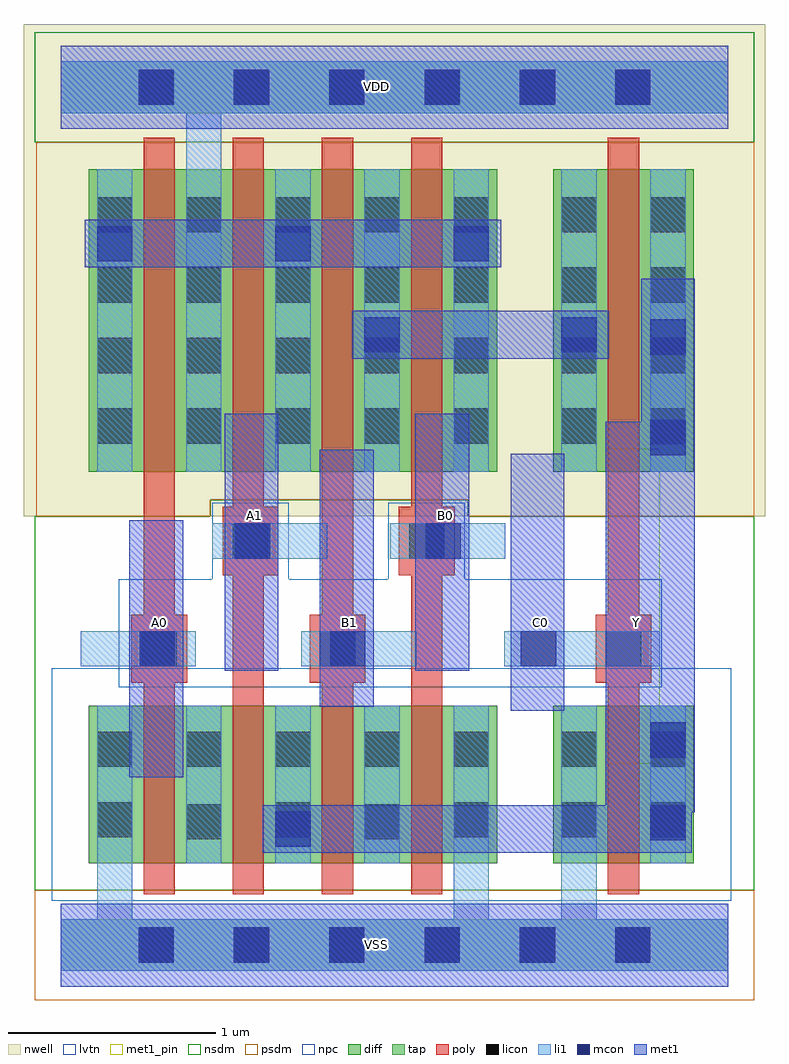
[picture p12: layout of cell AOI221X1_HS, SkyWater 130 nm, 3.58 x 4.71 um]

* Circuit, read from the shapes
.subckt AOI221X1_HS A0 A1 B0 B1 C0 VDD VSS Y
XM1 n1 A0 VSS VSS sky130_fd_pr__nfet_01v8_lvt w=0.76 l=0.15
XM2 Y A1 n1 VSS sky130_fd_pr__nfet_01v8_lvt w=0.76 l=0.15
XM3 n2 B1 Y VSS sky130_fd_pr__nfet_01v8_lvt w=0.76 l=0.15
XM4 VSS B0 n2 VSS sky130_fd_pr__nfet_01v8_lvt w=0.76 l=0.15
XM5 Y C0 VSS VSS sky130_fd_pr__nfet_01v8_lvt w=0.76 l=0.15
XM6 VDD A0 n3 VDD sky130_fd_pr__pfet_01v8 w=1.46 l=0.15
XM7 n3 A1 VDD VDD sky130_fd_pr__pfet_01v8 w=1.46 l=0.15
XM8 n4 B1 n3 VDD sky130_fd_pr__pfet_01v8 w=1.46 l=0.15
XM9 n3 B0 n4 VDD sky130_fd_pr__pfet_01v8 w=1.46 l=0.15
XM10 Y C0 n4 VDD sky130_fd_pr__pfet_01v8 w=1.46 l=0.15
.ends

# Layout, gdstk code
from math import pi, radians
import gdstk
lib = gdstk.Library(unit=1e-6, precision=1e-09)
def R(c, l, rs):  # rectangles x0, y0, x1, y1
    for r in rs: c.add(gdstk.rectangle(r[:2], r[2:], *l))
def A(c, l, x, y, w, h, nx, ny, dx, dy):  # array of equal rectangles
    R(c, l, [(x+i*dx, y+j*dy, x+i*dx+w, y+j*dy+h) for i in range(nx) for j in range(ny)])
def P(c, l, *ps):  # polygons
    for p in ps: c.add(gdstk.Polygon(p, *l))
nwell = (64, 20)
diff = (65, 20)
tap = (65, 44)
poly = (66, 20)
licon = (66, 44)
li1 = (67, 20)
mcon = (67, 44)
met1_pin = (68, 16)
met1 = (68, 20)
nsdm = (93, 44)
psdm = (94, 20)
npc = (95, 20)
lvtn = (125, 44)

l1m1_c_cdns_750721774072 = lib.new_cell('L1M1_C_CDNS_750721774072')
R(l1m1_c_cdns_750721774072, li1, [(-0.085,-0.165,0.085,0.165)])
R(l1m1_c_cdns_750721774072, mcon, [(-0.085,-0.085,0.085,0.085)])
R(l1m1_c_cdns_750721774072, met1, [(-0.115,-0.145,0.115,0.145)])

l1m1_c_cdns_750721774074 = lib.new_cell('L1M1_C_CDNS_750721774074')
R(l1m1_c_cdns_750721774074, li1, [(-0.165,-0.085,0.165,0.085)])
R(l1m1_c_cdns_750721774074, mcon, [(-0.085,-0.085,0.085,0.085)])
R(l1m1_c_cdns_750721774074, met1, [(-0.115,-0.145,0.115,0.145)])

pyl1con_c_cdns_750721774 = lib.new_cell('PYL1CON_C_CDNS_750721774073')
R(pyl1con_c_cdns_750721774, poly, [(-0.135,-0.165,0.135,0.165)])
R(pyl1con_c_cdns_750721774, licon, [(-0.085,-0.085,0.085,0.085)])
R(pyl1con_c_cdns_750721774, npc, [(-0.185,-0.185,0.185,0.185)])

aoi221x1_hs = lib.new_cell('AOI221X1_HS')
R(aoi221x1_hs, nwell, [(-0.18,2.07,3.4,4.305), (-0.045,2.105,0.955,3.925), (0.595,2.105,1.385,3.925), (1.025,2.105,1.815,3.925), (1.455,2.105,2.285,3.925), (2.195,2.105,3.235,3.925), (-0.18,3.875,3.4,4.445)])
A(aoi221x1_hs, diff, 0.4, 0.395, 0.15, 0.76, 4, 1, 0.43, 0)
A(aoi221x1_hs, diff, 0.55, 0.395, 0.225, 0.76, 3, 1, 0.43, 0)
A(aoi221x1_hs, diff, 0.775, 0.395, 0.055, 0.76, 3, 1, 0.43, 0)
A(aoi221x1_hs, diff, 0.4, 2.285, 0.15, 1.46, 4, 1, 0.43, 0)
A(aoi221x1_hs, diff, 0.55, 2.285, 0.225, 1.46, 3, 1, 0.43, 0)
A(aoi221x1_hs, diff, 0.775, 2.285, 0.055, 1.46, 3, 1, 0.43, 0)
R(aoi221x1_hs, diff, [(0.135,0.395,0.4,1.155), (1.84,0.395,2.105,1.155), (2.375,0.395,2.64,1.155), (2.64,0.395,2.79,1.155), (2.79,0.395,3.055,1.155), (0.135,2.285,0.4,3.745), (1.84,2.285,2.105,3.745), (2.375,2.285,2.64,3.745), (2.64,2.285,2.79,3.745), (2.79,2.285,3.055,3.745)])
A(aoi221x1_hs, poly, 0.4, 0.245, 0.15, 0.055, 4, 2, 0.43, 1.005)
A(aoi221x1_hs, poly, 0.4, 0.3, 0.15, 0.095, 4, 2, 0.43, 0.855)
A(aoi221x1_hs, poly, 0.4, 0.395, 0.15, 0.76, 4, 1, 0.43, 0)
A(aoi221x1_hs, poly, 0.4, 2.135, 0.15, 0.055, 4, 2, 0.43, 1.705)
A(aoi221x1_hs, poly, 0.4, 2.19, 0.15, 0.095, 4, 2, 0.43, 1.555)
A(aoi221x1_hs, poly, 0.4, 2.285, 0.15, 1.46, 4, 1, 0.43, 0)
R(aoi221x1_hs, poly, [(2.64,0.245,2.79,0.3), (2.64,0.3,2.79,0.395), (2.64,0.395,2.79,1.155), (2.64,1.155,2.79,1.25), (2.64,1.25,2.79,1.305), (2.64,2.135,2.79,2.19), (2.64,2.19,2.79,2.285), (2.64,2.285,2.79,3.745), (2.64,3.745,2.79,3.84), (2.64,3.84,2.79,3.895)])
A(aoi221x1_hs, licon, 0.375, -0.085, 0.17, 0.17, 6, 2, 0.46, 4.14)
A(aoi221x1_hs, licon, 0.175, 0.52, 0.17, 0.17, 3, 1, 0.86, 0)
A(aoi221x1_hs, licon, 0.175, 0.86, 0.17, 0.17, 5, 2, 0.43, 1.56)
A(aoi221x1_hs, licon, 2.415, 2.42, 0.17, 0.17, 1, 4, 0, 0.34)
A(aoi221x1_hs, licon, 2.845, 2.42, 0.17, 0.17, 1, 4, 0, 0.34)
A(aoi221x1_hs, licon, 0.175, 2.76, 0.17, 0.17, 5, 3, 0.43, 0.34)
R(aoi221x1_hs, licon, [(0.605,0.51,0.775,0.68), (1.465,0.51,1.635,0.68), (2.415,0.52,2.585,0.69), (2.845,0.52,3.015,0.69), (2.415,0.86,2.585,1.03), (2.845,0.86,3.015,1.03)])
A(aoi221x1_hs, li1, 0.175, 0.395, 0.17, 0.76, 3, 1, 0.86, 0)
A(aoi221x1_hs, li1, 0.175, 2.285, 0.17, 1.46, 5, 1, 0.43, 0)
R(aoi221x1_hs, li1, [(2.415,0.395,2.585,1.155), (2.845,0.395,3.015,1.155), (2.415,2.285,2.585,3.745), (2.845,2.285,3.015,3.745)])
A(aoi221x1_hs, mcon, 0.375, -0.085, 0.17, 0.17, 6, 2, 0.46, 4.14)
R(aoi221x1_hs, met1_pin, [(0.33,0.81,0.59,2.05), (2.63,0.875,2.89,2.395), (2.17,1.13,2.43,2.37), (1.25,1.15,1.51,2.39), (0.79,1.325,1.05,2.565), (1.71,1.325,1.97,2.565)])
R(aoi221x1_hs, met1, [(2.63,0.64,3.06,2.525)])
R(aoi221x1_hs, nsdm, [(-0.005,0.265,0.785,1.285), (0.765,0.265,1.215,1.285), (1.195,0.265,1.645,1.285), (1.625,0.265,2.245,1.285), (2.235,0.265,3.195,1.285), (-0.125,3.875,3.345,4.405), (-0.125,3.93,3.345,4.35)])
P(aoi221x1_hs, nsdm, [(3.345,2.07),(1.965,2.07),(1.965,2.15),(0.72,2.15),(0.72,2.07),(-0.125,2.07),(-0.125,0.265),(3.345,0.265)])
R(aoi221x1_hs, psdm, [(-0.125,-0.265,3.345,0.265), (-0.125,-0.21,3.345,0.21), (-0.005,2.155,0.785,3.875), (0.765,2.155,1.215,3.875), (1.195,2.155,1.645,3.875), (1.625,2.155,2.245,3.875), (2.235,2.155,3.195,3.875)])
P(aoi221x1_hs, psdm, [(3.345,3.875),(-0.12,3.875),(-0.12,2.07),(0.72,2.07),(0.72,2.15),(1.965,2.15),(1.965,2.07),(3.345,2.07)])
R(aoi221x1_hs, npc, [(0.28,1.245,2.9,1.765)])
R(aoi221x1_hs, lvtn, [(-0.045,0.215,0.955,1.335), (0.595,0.215,1.385,1.335), (1.025,0.215,1.815,1.335), (1.455,0.215,2.285,1.335), (2.195,0.215,3.235,1.335)])
aoi221x1_hs.add(gdstk.FlexPath([(2.715,2.27),(2.715,1.305)], 0.15, ends="flush", simple_path=True, layer=66, datatype=20))  # poly
aoi221x1_hs.add(gdstk.FlexPath([(1.765,2.27),(1.765,1.305)], 0.15, ends="flush", simple_path=True, layer=66, datatype=20))  # poly
aoi221x1_hs.add(gdstk.FlexPath([(1.335,2.27),(1.335,1.23)], 0.15, ends="flush", simple_path=True, layer=66, datatype=20))  # poly
aoi221x1_hs.add(gdstk.FlexPath([(0.905,2.27),(0.905,1.23)], 0.15, ends="flush", simple_path=True, layer=66, datatype=20))  # poly
aoi221x1_hs.add(gdstk.FlexPath([(0.475,2.27),(0.475,1.305)], 0.15, ends="flush", simple_path=True, layer=66, datatype=20))  # poly
aoi221x1_hs.add(gdstk.FlexPath([(3.135,0),(0,0)], 0.25, ends=(0.085, 0), simple_path=True, layer=67, datatype=20))  # li1
aoi221x1_hs.add(gdstk.FlexPath([(2.145,1.95),(1.59,1.95)], 0.17, ends="flush", simple_path=True, layer=67, datatype=20))  # li1
aoi221x1_hs.add(gdstk.FlexPath([(2.335,1.43),(2.89,1.43)], 0.17, ends="flush", simple_path=True, layer=67, datatype=20))  # li1
aoi221x1_hs.add(gdstk.FlexPath([(0.095,1.43),(0.65,1.43)], 0.17, ends="flush", simple_path=True, layer=67, datatype=20))  # li1
aoi221x1_hs.add(gdstk.FlexPath([(3.135,4.14),(0,4.14)], 0.25, ends=(0.085, 0), simple_path=True, layer=67, datatype=20))  # li1
aoi221x1_hs.add(gdstk.FlexPath([(2.5,0.59),(2.5,0)], 0.17, ends="flush", simple_path=True, layer=67, datatype=20))  # li1
aoi221x1_hs.add(gdstk.FlexPath([(1.98,0.59),(1.98,0)], 0.17, ends="flush", simple_path=True, layer=67, datatype=20))  # li1
aoi221x1_hs.add(gdstk.FlexPath([(1.55,1.155),(1.55,0.395)], 0.17, ends="flush", simple_path=True, layer=67, datatype=20))  # li1
aoi221x1_hs.add(gdstk.FlexPath([(0.69,4.14),(0.69,3.55)], 0.17, ends="flush", simple_path=True, layer=67, datatype=20))  # li1
aoi221x1_hs.add(gdstk.FlexPath([(0.26,0.59),(0.26,0)], 0.17, ends="flush", simple_path=True, layer=67, datatype=20))  # li1
aoi221x1_hs.add(gdstk.FlexPath([(0.69,1.155),(0.69,0.395)], 0.17, ends="flush", simple_path=True, layer=67, datatype=20))  # li1
aoi221x1_hs.add(gdstk.FlexPath([(1.715,1.43),(1.16,1.43)], 0.17, ends="flush", simple_path=True, layer=67, datatype=20))  # li1
aoi221x1_hs.add(gdstk.FlexPath([(1.285,1.95),(0.73,1.95)], 0.17, ends="flush", simple_path=True, layer=67, datatype=20))  # li1
aoi221x1_hs.add(gdstk.FlexPath([(0,0),(3.22,0)], 0.25, ends="flush", simple_path=True, layer=65, datatype=44))  # tap
aoi221x1_hs.add(gdstk.FlexPath([(0,4.14),(3.22,4.14)], 0.25, ends="flush", simple_path=True, layer=65, datatype=44))  # tap
aoi221x1_hs.add(gdstk.FlexPath([(0,0),(3.22,0)], 0.4, ends="flush", simple_path=True, layer=68, datatype=20))  # met1
aoi221x1_hs.add(gdstk.FlexPath([(0,4.14),(3.22,4.14)], 0.4, ends="flush", simple_path=True, layer=68, datatype=20))  # met1
aoi221x1_hs.add(gdstk.FlexPath([(2.76,2.395),(2.93,2.395)], 0.26, ends="extended", simple_path=True, layer=68, datatype=20))  # met1
aoi221x1_hs.add(gdstk.FlexPath([(2.3,1.13),(2.3,2.37)], 0.26, ends="flush", simple_path=True, layer=68, datatype=20))  # met1
aoi221x1_hs.add(gdstk.FlexPath([(0.92,1.325),(0.92,2.565)], 0.26, ends="flush", simple_path=True, layer=68, datatype=20))  # met1
aoi221x1_hs.add(gdstk.FlexPath([(1.84,1.325),(1.84,2.565)], 0.26, ends="flush", simple_path=True, layer=68, datatype=20))  # met1
aoi221x1_hs.add(gdstk.FlexPath([(0.975,0.56),(3.045,0.56)], 0.23, ends="flush", simple_path=True, layer=68, datatype=20))  # met1
aoi221x1_hs.add(gdstk.FlexPath([(1.405,2.945),(2.645,2.945)], 0.23, ends="flush", simple_path=True, layer=68, datatype=20))  # met1
aoi221x1_hs.add(gdstk.FlexPath([(0.115,3.385),(2.125,3.385)], 0.23, ends="flush", simple_path=True, layer=68, datatype=20))  # met1
aoi221x1_hs.add(gdstk.FlexPath([(2.76,2.395),(2.76,0.77)], 0.26, ends=(0, 0.13), simple_path=True, layer=68, datatype=20))  # met1
aoi221x1_hs.add(gdstk.FlexPath([(2.93,2.395),(2.93,3.07)], 0.26, ends=(0.13, 0.145), simple_path=True, layer=68, datatype=20))  # met1
aoi221x1_hs.add(gdstk.FlexPath([(1.38,1.15),(1.38,2.39)], 0.26, ends="flush", simple_path=True, layer=68, datatype=20))  # met1
aoi221x1_hs.add(gdstk.FlexPath([(0.46,0.81),(0.46,2.05)], 0.26, ends="flush", simple_path=True, layer=68, datatype=20))  # met1
aoi221x1_hs.add(gdstk.FlexPath([(0,4.14),(3.22,4.14)], 0.4, ends="flush", simple_path=True, layer=68, datatype=16))  # met1_pin
aoi221x1_hs.add(gdstk.FlexPath([(0,0),(3.22,0)], 0.4, ends="flush", simple_path=True, layer=68, datatype=16))  # met1_pin
aoi221x1_hs.add(gdstk.Reference(l1m1_c_cdns_750721774072, (2.93,2.935)))
aoi221x1_hs.add(gdstk.Reference(l1m1_c_cdns_750721774072, (2.93,0.99)))
aoi221x1_hs.add(gdstk.Reference(l1m1_c_cdns_750721774072, (2.93,0.59)))
aoi221x1_hs.add(gdstk.Reference(l1m1_c_cdns_750721774072, (2.93,2.45)))
aoi221x1_hs.add(gdstk.Reference(l1m1_c_cdns_750721774074, (2.305,1.43), x_reflection=True))
aoi221x1_hs.add(gdstk.Reference(l1m1_c_cdns_750721774074, (1.845,1.95), x_reflection=True))
aoi221x1_hs.add(gdstk.Reference(l1m1_c_cdns_750721774074, (1.385,1.43), x_reflection=True))
aoi221x1_hs.add(gdstk.Reference(l1m1_c_cdns_750721774074, (0.925,1.95), x_reflection=True))
aoi221x1_hs.add(gdstk.Reference(l1m1_c_cdns_750721774074, (1.12,0.56), rotation=pi/2))
aoi221x1_hs.add(gdstk.Reference(l1m1_c_cdns_750721774074, (1.55,2.945), rotation=pi/2))
aoi221x1_hs.add(gdstk.Reference(l1m1_c_cdns_750721774074, (1.98,3.385), rotation=pi/2))
aoi221x1_hs.add(gdstk.Reference(l1m1_c_cdns_750721774074, (1.12,3.385), rotation=pi/2))
aoi221x1_hs.add(gdstk.Reference(l1m1_c_cdns_750721774074, (0.26,3.385), rotation=pi/2))
aoi221x1_hs.add(gdstk.Reference(l1m1_c_cdns_750721774074, (2.5,2.945), rotation=pi/2))
aoi221x1_hs.add(gdstk.Reference(l1m1_c_cdns_750721774074, (0.465,1.43), x_reflection=True))
aoi221x1_hs.add(gdstk.Reference(pyl1con_c_cdns_750721774, (1.765,1.95)))
aoi221x1_hs.add(gdstk.Reference(pyl1con_c_cdns_750721774, (0.915,1.95)))
aoi221x1_hs.add(gdstk.Reference(pyl1con_c_cdns_750721774, (1.335,1.43)))
aoi221x1_hs.add(gdstk.Reference(pyl1con_c_cdns_750721774, (0.475,1.43)))
aoi221x1_hs.add(gdstk.Reference(pyl1con_c_cdns_750721774, (2.715,1.43)))
aoi221x1_hs.add(gdstk.Label('VSS', (1.525,0.005), layer=68, texttype=5))
aoi221x1_hs.add(gdstk.Label('VDD', (1.525,4.145), layer=68, texttype=5))
aoi221x1_hs.add(gdstk.Label('B0', (1.855,2.075), layer=68, texttype=5))
aoi221x1_hs.add(gdstk.Label('C0', (2.315,1.555), layer=68, texttype=5))
aoi221x1_hs.add(gdstk.Label('B1', (1.395,1.555), layer=68, texttype=5))
aoi221x1_hs.add(gdstk.Label('Y', (2.78,1.555), layer=68, texttype=5))
aoi221x1_hs.add(gdstk.Label('A0', (0.475,1.555), layer=68, texttype=5))
aoi221x1_hs.add(gdstk.Label('A1', (0.935,2.075), layer=68, texttype=5))

lib.write_gds('AOI221X1_HS.gds')
